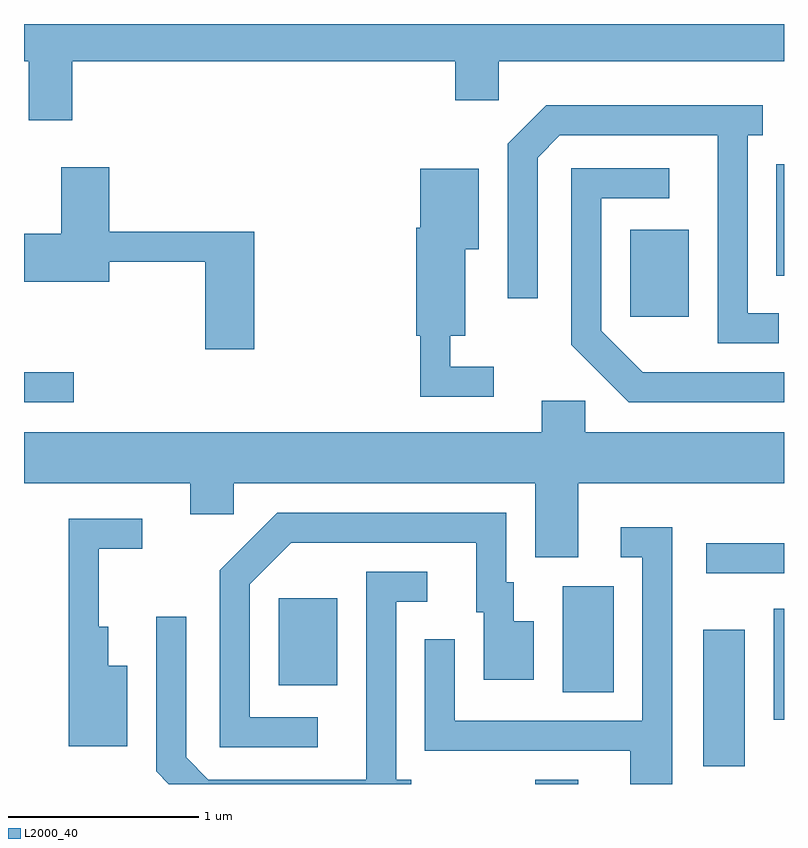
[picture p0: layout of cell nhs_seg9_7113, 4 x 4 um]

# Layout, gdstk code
import gdstk
lib = gdstk.Library(unit=1e-6, precision=1e-09)
def R(c, l, rs):  # rectangles x0, y0, x1, y1
    for r in rs: c.add(gdstk.rectangle(r[:2], r[2:], *l))
def P(c, l, *ps):  # polygons
    for p in ps: c.add(gdstk.Polygon(p, *l))
L2000_40 = (2000, 40)

nhs_seg9_7113 = lib.new_cell('nhs_seg9_7113')
R(nhs_seg9_7113, L2000_40, [(398.301,2012.432,398.529,2012.454), (399.186,2012.526,399.404,2013.244), (399.556,2012.771,399.611,2013.354), (398.446,2012.916,398.714,2013.474), (396.951,2012.951,397.259,2013.409), (399.203,2013.541,399.611,2013.699), (395.611,2014.441,395.873,2014.599), (398.801,2014.891,399.109,2015.349), (399.571,2015.108,399.611,2015.694)])
P(nhs_seg9_7113, L2000_40, [(395.864,2016.236),(397.881,2016.236),(397.881,2016.031),(398.109,2016.031),(398.109,2016.236),(399.611,2016.236),(399.611,2016.432),(395.611,2016.432),(395.611,2016.236),(395.636,2016.236),(395.636,2015.926),(395.864,2015.926)],
  [(399.583,2014.909),(399.419,2014.909),(399.419,2015.846),(399.498,2015.846),(399.498,2016.004),(398.359,2016.004),(398.156,2015.802),(398.156,2014.988),(398.314,2014.988),(398.314,2015.729),(398.432,2015.846),(399.261,2015.846),(399.261,2014.751),(399.583,2014.751)],
  [(396.824,2015.339),(396.059,2015.339),(396.059,2015.679),(395.806,2015.679),(395.806,2015.329),(395.611,2015.329),(395.611,2015.076),(396.059,2015.076),(396.059,2015.181),(396.566,2015.181),(396.566,2014.721),(396.824,2014.721)],
  [(399.611,2014.599),(398.867,2014.599),(398.649,2014.817),(398.649,2015.516),(399.008,2015.516),(399.008,2015.674),(398.491,2015.674),(398.491,2014.744),(398.794,2014.441),(399.611,2014.441)],
  [(398.083,2014.629),(397.854,2014.629),(397.854,2014.791),(397.934,2014.791),(397.934,2015.246),(398.004,2015.246),(398.004,2015.669),(397.696,2015.669),(397.696,2015.359),(397.676,2015.359),(397.676,2014.791),(397.696,2014.791),(397.696,2014.471),(398.083,2014.471)],
  [(398.529,2014.016),(399.611,2014.016),(399.611,2014.284),(398.564,2014.284),(398.564,2014.449),(398.336,2014.449),(398.336,2014.284),(395.611,2014.284),(395.611,2014.016),(396.486,2014.016),(396.486,2013.851),(396.714,2013.851),(396.714,2014.016),(398.301,2014.016),(398.301,2013.626),(398.529,2013.626)],
  [(397.158,2012.784),(396.799,2012.784),(396.799,2013.484),(397.017,2013.701),(397.991,2013.701),(397.991,2013.336),(398.031,2013.336),(398.031,2012.981),(398.294,2012.981),(398.294,2013.289),(398.189,2013.289),(398.189,2013.494),(398.149,2013.494),(398.149,2013.859),(396.944,2013.859),(396.641,2013.557),(396.641,2012.626),(397.158,2012.626)],
  [(396.154,2013.054),(396.054,2013.054),(396.054,2013.259),(396.004,2013.259),(396.004,2013.671),(396.233,2013.671),(396.233,2013.829),(395.846,2013.829),(395.846,2012.631),(396.154,2012.631)],
  [(399.024,2013.784),(398.753,2013.784),(398.753,2013.626),(398.866,2013.626),(398.866,2012.764),(397.879,2012.764),(397.879,2013.193),(397.721,2013.193),(397.721,2012.606),(398.801,2012.606),(398.801,2012.432),(399.024,2012.432)],
  [(397.648,2012.454),(397.569,2012.454),(397.569,2013.391),(397.733,2013.391),(397.733,2013.549),(397.411,2013.549),(397.411,2012.454),(396.582,2012.454),(396.464,2012.572),(396.464,2013.313),(396.306,2013.313),(396.306,2012.499),(396.373,2012.432),(397.648,2012.432)])

lib.write_gds('nhs_seg9_7113.gds')
